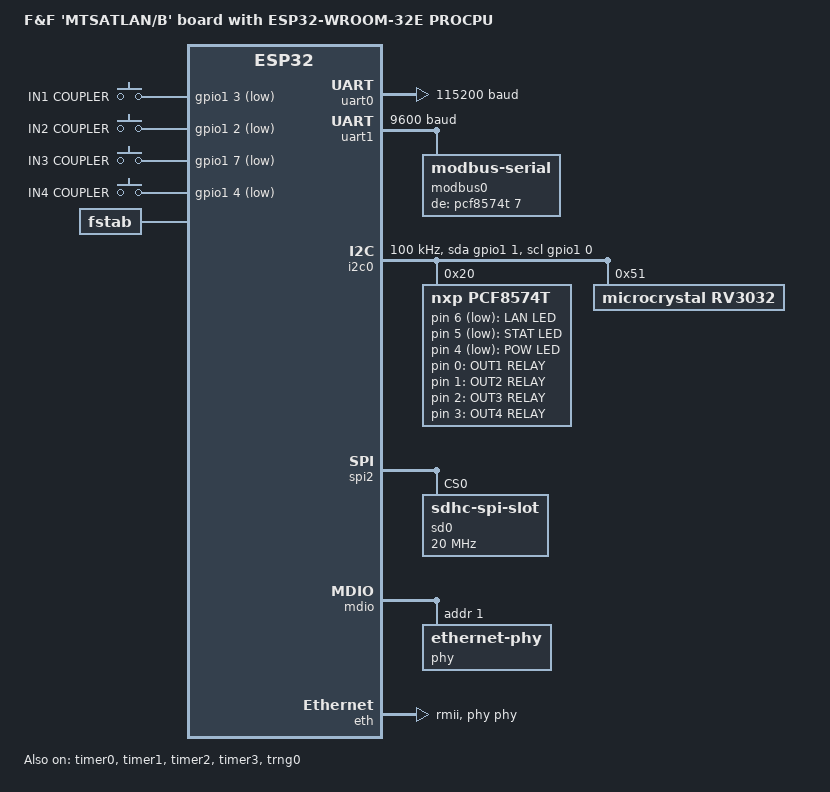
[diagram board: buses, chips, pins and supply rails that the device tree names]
/*
 * Copyright (c) 2022 Grant Ramsay <grant.ramsay@hotmail.com>
 *
 * SPDX-License-Identifier: Apache-2.0
 */
/dts-v1/;

#include <espressif/esp32/esp32_wroom_32ue_n8.dtsi>
#include "esp32_mtsatlan_b-pinctrl.dtsi"

/ {
	model = "F&F 'MTSATLAN/B' board with ESP32-WROOM-32E PROCPU";
	compatible = "espressif,esp32-wroom-32e", "espressif,esp32";

	aliases {
		uart-0 = &uart0;
		i2c-0 = &i2c0;
		watchdog0 = &wdt0;
	};

	chosen {
		zephyr,sram = &sram0;
		zephyr,console = &uart0;
		zephyr,shell-uart = &uart0;
		zephyr,flash = &flash0;
		zephyr,rtc = &rv3032;
		zephyr,code-partition = &slot0_partition;
	};

  leds {
		compatible = "gpio-leds";
		red_led: red_led {
			gpios = <&pcf8574t 6 GPIO_ACTIVE_LOW>;
			label = "LAN LED";
    };
		yellow_led: yellow_led {
			gpios = <&pcf8574t 5 GPIO_ACTIVE_LOW>;
			label = "STAT LED";
		};
		green_led: green_led {
			gpios = <&pcf8574t 4 GPIO_ACTIVE_LOW>;
			label = "POW LED";
		};
	};

	relays {
		compatible = "gpio-leds";
		relay_1: relay_1 {
			gpios = <&pcf8574t 0 GPIO_ACTIVE_HIGH>;
			label = "OUT1 RELAY";
		};
		relay_2: relay_2 {
			gpios = <&pcf8574t 1 GPIO_ACTIVE_HIGH>;
			label = "OUT2 RELAY";
		};
		relay_3: relay_3 {
			gpios = <&pcf8574t 2 GPIO_ACTIVE_HIGH>;
			label = "OUT3 RELAY";
		};
		relay_4: relay_4 {
			gpios = <&pcf8574t 3 GPIO_ACTIVE_HIGH>;
			label = "OUT4 RELAY";
		};
  };

  inputs {
		compatible = "gpio-keys";
		input_1: input_1 {
			gpios = <&gpio1 3 GPIO_ACTIVE_LOW>;
			label = "IN1 COUPLER";
		};
		input_2: input_2 {
			gpios = <&gpio1 2 GPIO_ACTIVE_LOW>;
			label = "IN2 COUPLER";
		};
		input_3: input_3 {
			gpios = <&gpio1 7 GPIO_ACTIVE_LOW>;
			label = "IN3 COUPLER";
		};
		input_4: input_4 {
			gpios = <&gpio1 4 GPIO_ACTIVE_LOW>;
			label = "IN4 COUPLER";
		};
	};

	fstab {
		compatible = "zephyr,fstab";
		lfs1: lfs1 {
			compatible = "zephyr,fstab,littlefs";
			mount-point = "/LFS:";
			partition = <&storage_partition>;
			automount;
			read-size = <16>;
			prog-size = <16>;
			cache-size = <64>;
			lookahead-size = <32>;
			block-cycles = <512>;
		};
	};
};

&uart0 {
	status = "okay";
	current-speed = <115200>;
	pinctrl-0 = <&uart0_default>;
	pinctrl-names = "default";
};

&uart1 {
	status = "okay";
	current-speed = <9600>;
	pinctrl-0 = <&uart1_default>;
	pinctrl-names = "default";
	modbus0 {
		compatible = "zephyr,modbus-serial";
		status = "okay";
		de-gpios = <&pcf8574t 7 GPIO_ACTIVE_HIGH>;
	};
};

&gpio0 {
	status = "okay";
};

&gpio1 {
	status = "okay";
};

&i2c0 {
	status = "okay";
	clock-frequency = <I2C_BITRATE_STANDARD>;
	sda-gpios = <&gpio1 1 GPIO_OPEN_DRAIN>;
	scl-gpios = <&gpio1 0 GPIO_OPEN_DRAIN>;
	pinctrl-0 = <&i2c0_default>;
	pinctrl-names = "default";
	pcf8574t: pcf8574t@20 {
		status = "okay";
		compatible = "nxp,pcf8574t";
		reg = <0x20>;
    #gpio-cells = <2>;
    ngpios = <8>;
		gpio-controller;
    de-nre-hog {
      gpio-hog;
      gpios = <7 GPIO_ACTIVE_HIGH>;
      output-low;
      line-name = "DE-nRE";
    };
  };
	rv3032: rv3032@51 {
    status = "okay";
		compatible = "microcrystal,rv3032";
    backup-switch-mode = "level";
    charge-switch-mode = "disabled";
		reg = <0x51>;
	};
};

&spi2 {
  #address-cells = <1>;
  #size-cells = <0>;
  pinctrl-0 = <&spim2_default>;
  pinctrl-names = "default";
  status = "okay";
  sd0: sd@0 {
    compatible = "zephyr,sdhc-spi-slot";
    reg = <0>;
    status = "okay";
    spi-max-frequency = <20000000>;
    mmc {
      compatible = "zephyr,sdmmc-disk";
      status = "okay";
    };
  };
};

&mdio {
	pinctrl-0 = <&mdio_default>;
	pinctrl-names = "default";
	ref-clk-output-gpios = <&gpio0 17 0>;
	status = "okay";

	phy: ethernet-phy@1 {
		compatible = "ethernet-phy";
		status = "okay";
		reg = <1>;
	};
};

&eth {
	phy-handle = <&phy>;
	ref-clk-output-gpios = <&gpio0 17 0>;
	phy-connection-type = "rmii";
	status = "okay";
};

&esp32_bt_hci {
	status = "disabled";
};

&timer0 {
	status = "okay";
};

&timer1 {
	status = "okay";
};

&timer2 {
	status = "okay";
};

&timer3 {
	status = "okay";
};

&trng0 {
	status = "okay";
};

&psram0 {
	status = "disabled";
};

&flash0 {
	status = "okay";
	partitions {
		compatible = "fixed-partitions";
		#address-cells = <1>;
		#size-cells = <1>;

		/* Reserve 60kB for the bootloader */
		boot_partition: partition@1000 {
			label = "mcuboot";
			reg = <0x00001000 0x0000F000>;
			read-only;
		};

		/* Reserve 1024kB for the application in slot 0 */
		slot0_partition: partition@10000 {
			label = "image-0";
			reg = <0x00010000 0x00100000>;
		};

		/* Reserve 1024kB for the application in slot 1 */
		slot1_partition: partition@110000 {
			label = "image-1";
			reg = <0x00110000 0x00100000>;
		};

		/* Reserve 256kB for the scratch partition */
		scratch_partition: partition@210000 {
			   label = "image-scratch";
			   reg = <0x00210000 0x00040000>;
		};
    
		storage_partition: partition@250000 {
			label = "storage";
			reg = <0x00250000 0x00500000>;
		};

  };
};
